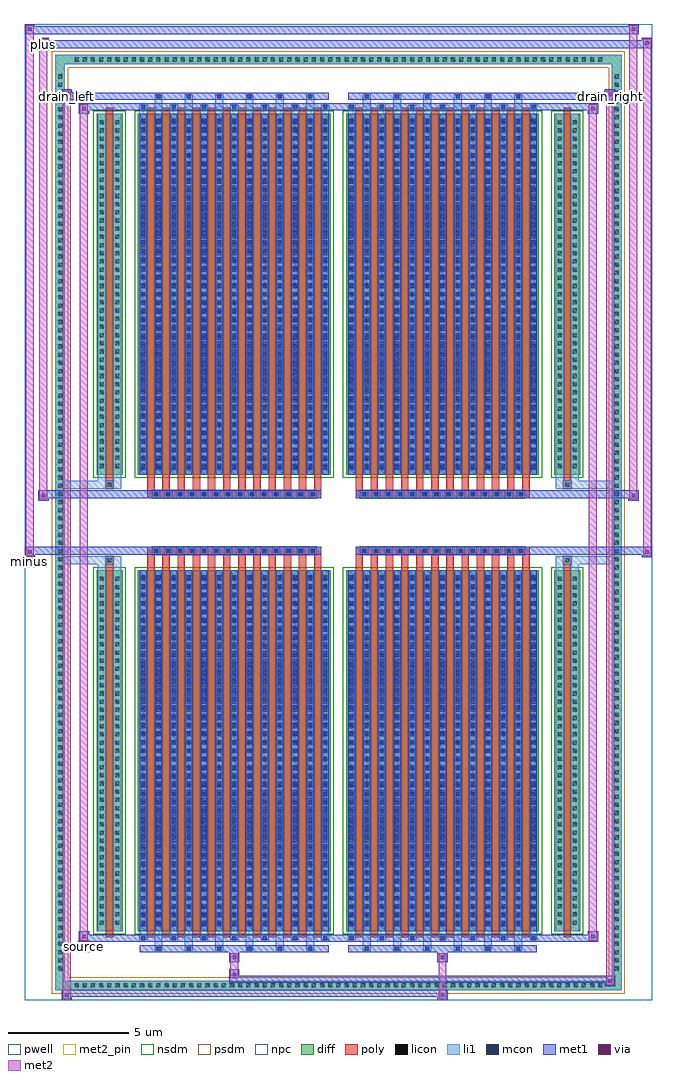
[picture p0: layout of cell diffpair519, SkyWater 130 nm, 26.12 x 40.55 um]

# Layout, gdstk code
import gdstk
lib = gdstk.Library(unit=1e-6, precision=5e-09)
def R(c, l, rs):  # rectangles x0, y0, x1, y1
    for r in rs: c.add(gdstk.rectangle(r[:2], r[2:], *l))
def A(c, l, x, y, w, h, nx, ny, dx, dy):  # array of equal rectangles
    R(c, l, [(x+i*dx, y+j*dy, x+i*dx+w, y+j*dy+h) for i in range(nx) for j in range(ny)])
def P(c, l, *ps):  # polygons
    for p in ps: c.add(gdstk.Polygon(p, *l))
pwell = (64, 44)
diff = (65, 20)
poly = (66, 20)
licon = (66, 44)
li1 = (67, 20)
mcon = (67, 44)
met1 = (68, 20)
via = (68, 44)
met2_pin = (69, 16)
met2 = (69, 20)
nsdm = (93, 44)
psdm = (94, 20)
npc = (95, 20)

diffpair519 = lib.new_cell('diffpair519')
R(diffpair519, pwell, [(-13.04,-19.84,13.04,20.71), (-10.36,-18.03,-0.01,-0.805), (0.01,-18.03,10.36,-0.805), (-10.36,0.805,-0.01,18.03), (0.01,0.805,10.36,18.03)])
A(diffpair519, diff, -11.085, -19.44, 0.41, 0.41, 65, 2, 0.34, 38.47)
A(diffpair519, diff, -11.77, -18.735, 0.41, 0.41, 1, 110, 0, 0.34)
A(diffpair519, diff, 11.36, -18.735, 0.41, 0.41, 1, 110, 0, 0.34)
R(diffpair519, diff, [(-11.085,-19.44,11.085,-19.03), (-11.77,-18.735,-11.36,18.735), (11.36,-18.735,11.77,18.735), (-10.05,-16.985,-8.97,-1.985), (-8.33,-16.985,-0.32,-1.985), (0.32,-16.985,8.33,-1.985), (8.97,-16.985,10.05,-1.985), (-10.05,1.985,-8.97,16.985), (-8.33,1.985,-0.32,16.985), (0.32,1.985,8.33,16.985), (8.97,1.985,10.05,16.985), (-11.085,19.03,11.085,19.44)])
P(diffpair519, diff, [(11.77,19.44),(-11.77,19.44),(-11.77,-19.03),(-11.36,-19.03),(-11.36,19.03),(11.36,19.03),(11.36,-19.03),(-11.36,-19.03),(-11.77,-19.03),(-11.77,-19.44),(11.77,-19.44)])
A(diffpair519, poly, -7.94, -17.235, 0.3, 15.5, 12, 2, 0.63, 18.97)
A(diffpair519, poly, 0.71, -17.235, 0.3, 15.5, 12, 2, 0.63, 18.97)
A(diffpair519, poly, -7.94, -1.735, 0.3, 0.4, 12, 2, 0.63, 3.07)
A(diffpair519, poly, 0.71, -1.735, 0.3, 0.4, 12, 2, 0.63, 3.07)
A(diffpair519, poly, -7.74, -1.335, 0.33, 0.33, 14, 2, 0.5, 2.34)
A(diffpair519, poly, 0.91, -1.335, 0.33, 0.33, 14, 2, 0.5, 2.34)
R(diffpair519, poly, [(-9.66,-17.235,-9.36,-1.735), (9.36,-17.235,9.66,-1.735), (-9.675,-1.735,-9.345,-1.405), (-9.675,-1.735,-9.345,-1.405), (9.345,-1.735,9.675,-1.405), (9.345,-1.735,9.675,-1.405), (-7.94,-1.335,-0.71,-1.005), (0.71,-1.335,7.94,-1.005), (-7.94,1.005,-0.71,1.335), (0.71,1.005,7.94,1.335), (-9.675,1.405,-9.345,1.735), (-9.675,1.405,-9.345,1.735), (9.345,1.405,9.675,1.735), (9.345,1.405,9.675,1.735), (-9.66,1.735,-9.36,17.235), (9.36,1.735,9.66,17.235)])
A(diffpair519, licon, -10.965, -19.32, 0.17, 0.17, 65, 2, 0.34, 38.47)
A(diffpair519, licon, -11.65, -18.615, 0.17, 0.17, 1, 110, 0, 0.34)
A(diffpair519, licon, 11.48, -18.615, 0.17, 0.17, 1, 110, 0, 0.34)
A(diffpair519, licon, -9.91, -16.71, 0.17, 0.17, 1, 43, 0, 0.34)
A(diffpair519, licon, -9.28, -16.71, 0.17, 0.17, 1, 43, 0, 0.34)
A(diffpair519, licon, -8.19, -16.71, 0.17, 0.17, 13, 43, 0.63, 0.34)
A(diffpair519, licon, 0.46, -16.71, 0.17, 0.17, 13, 43, 0.63, 0.34)
A(diffpair519, licon, 9.11, -16.71, 0.17, 0.17, 1, 43, 0, 0.34)
A(diffpair519, licon, 9.74, -16.71, 0.17, 0.17, 1, 43, 0, 0.34)
A(diffpair519, licon, -7.66, -1.255, 0.17, 0.17, 14, 2, 0.5, 2.34)
A(diffpair519, licon, 0.99, -1.255, 0.17, 0.17, 14, 2, 0.5, 2.34)
A(diffpair519, licon, -9.91, 2.26, 0.17, 0.17, 1, 43, 0, 0.34)
A(diffpair519, licon, -9.28, 2.26, 0.17, 0.17, 1, 43, 0, 0.34)
A(diffpair519, licon, -8.19, 2.26, 0.17, 0.17, 13, 43, 0.63, 0.34)
A(diffpair519, licon, 0.46, 2.26, 0.17, 0.17, 13, 43, 0.63, 0.34)
A(diffpair519, licon, 9.11, 2.26, 0.17, 0.17, 1, 43, 0, 0.34)
A(diffpair519, licon, 9.74, 2.26, 0.17, 0.17, 1, 43, 0, 0.34)
R(diffpair519, licon, [(-9.595,-1.655,-9.425,-1.485), (9.425,-1.655,9.595,-1.485), (-9.595,1.485,-9.425,1.655), (9.425,1.485,9.595,1.655)])
A(diffpair519, li1, -11.045, -19.4, 0.33, 0.33, 65, 2, 0.34, 38.47)
A(diffpair519, li1, -11.73, -18.695, 0.33, 0.33, 1, 110, 0, 0.34)
A(diffpair519, li1, 11.4, -18.695, 0.33, 0.33, 1, 110, 0, 0.34)
A(diffpair519, li1, -7.64, -17.79, 0.33, 0.805, 6, 2, 1.26, 34.775)
A(diffpair519, li1, -7.56, -17.79, 0.17, 0.17, 6, 2, 1.26, 35.41)
A(diffpair519, li1, 1.01, -17.79, 0.33, 0.805, 6, 2, 1.26, 34.775)
A(diffpair519, li1, 1.09, -17.79, 0.17, 0.17, 6, 2, 1.26, 35.41)
A(diffpair519, li1, -8.27, -17.36, 0.33, 0.375, 7, 2, 1.26, 34.345)
A(diffpair519, li1, -8.19, -17.36, 0.17, 0.17, 7, 2, 1.26, 34.55)
A(diffpair519, li1, 0.38, -17.36, 0.33, 0.375, 7, 2, 1.26, 34.345)
A(diffpair519, li1, 0.46, -17.36, 0.17, 0.17, 7, 2, 1.26, 34.55)
A(diffpair519, li1, -8.27, -16.985, 0.33, 15, 13, 2, 0.63, 18.97)
A(diffpair519, li1, 0.38, -16.985, 0.33, 15, 13, 2, 0.63, 18.97)
A(diffpair519, li1, -9.99, -16.79, 0.33, 0.33, 1, 43, 0, 0.34)
A(diffpair519, li1, -9.36, -16.79, 0.33, 0.33, 1, 43, 0, 0.34)
A(diffpair519, li1, -8.27, -16.79, 0.33, 0.33, 13, 43, 0.63, 0.34)
A(diffpair519, li1, 0.38, -16.79, 0.33, 0.33, 13, 43, 0.63, 0.34)
A(diffpair519, li1, 9.03, -16.79, 0.33, 0.33, 1, 43, 0, 0.34)
A(diffpair519, li1, 9.66, -16.79, 0.33, 0.33, 1, 43, 0, 0.34)
A(diffpair519, li1, -8.19, -16.77, 0.17, 0.17, 13, 41, 0.63, 0.36)
A(diffpair519, li1, -8.19, -16.77, 0.17, 14.57, 13, 2, 0.63, 18.97)
A(diffpair519, li1, 0.46, -16.77, 0.17, 0.17, 13, 41, 0.63, 0.36)
A(diffpair519, li1, 0.46, -16.77, 0.17, 14.57, 13, 2, 0.63, 18.97)
A(diffpair519, li1, -7.74, -1.335, 0.33, 0.33, 14, 2, 0.5, 2.34)
A(diffpair519, li1, 0.91, -1.335, 0.33, 0.33, 14, 2, 0.5, 2.34)
A(diffpair519, li1, -9.99, 2.18, 0.33, 0.33, 1, 43, 0, 0.34)
A(diffpair519, li1, -9.36, 2.18, 0.33, 0.33, 1, 43, 0, 0.34)
A(diffpair519, li1, -8.27, 2.18, 0.33, 0.33, 13, 43, 0.63, 0.34)
A(diffpair519, li1, 0.38, 2.18, 0.33, 0.33, 13, 43, 0.63, 0.34)
A(diffpair519, li1, 9.03, 2.18, 0.33, 0.33, 1, 43, 0, 0.34)
A(diffpair519, li1, 9.66, 2.18, 0.33, 0.33, 1, 43, 0, 0.34)
A(diffpair519, li1, -8.19, 2.2, 0.17, 0.17, 13, 41, 0.63, 0.36)
A(diffpair519, li1, 0.46, 2.2, 0.17, 0.17, 13, 41, 0.63, 0.36)
R(diffpair519, li1, [(-11.77,-19.44,-11.36,-19.03), (-11.77,-19.44,-11.36,-19.03), (-11.36,-19.44,11.36,-19.03), (11.36,-19.44,11.77,-19.03), (11.36,-19.44,11.77,-19.03), (-11.77,-19.03,-11.36,19.03), (11.36,-19.03,11.77,19.03), (-9.99,-16.985,-9.66,-1.985), (-9.36,-16.985,-9.03,-1.985), (9.03,-16.985,9.36,-1.985), (9.66,-16.985,9.99,-1.985), (-9.99,-1.985,-9.66,-1.405), (-9.36,-1.985,-9.03,-1.405), (9.03,-1.985,9.36,-1.405), (9.66,-1.985,9.99,-1.405), (-11.77,-1.735,-9.675,-1.405), (-9.99,-1.735,-9.675,-1.405), (-9.675,-1.735,-9.345,-1.405), (-9.345,-1.735,-9.03,-1.405), (9.03,-1.735,9.345,-1.405), (9.345,-1.735,9.675,-1.405), (9.345,-1.735,11.77,-1.405), (9.675,-1.735,9.99,-1.405), (-11.77,1.405,-9.675,1.735), (-9.99,1.405,-9.675,1.735), (-9.99,1.405,-9.66,1.985), (-9.675,1.405,-9.345,1.735), (-9.36,1.405,-9.03,1.985), (-9.345,1.405,-9.03,1.735), (9.03,1.405,9.345,1.735), (9.03,1.405,9.36,1.985), (9.345,1.405,9.675,1.735), (9.345,1.405,11.77,1.735), (9.66,1.405,9.99,1.985), (9.675,1.405,9.99,1.735), (-9.99,1.985,-9.66,16.985), (-9.36,1.985,-9.03,16.985), (9.03,1.985,9.36,16.985), (9.66,1.985,9.99,16.985), (-11.77,19.03,-11.36,19.44), (-11.77,19.03,-11.36,19.44), (-11.36,19.03,11.36,19.44), (11.36,19.03,11.77,19.44), (11.36,19.03,11.77,19.44)])
A(diffpair519, mcon, -7.56, -17.79, 0.17, 0.17, 6, 2, 1.26, 35.41)
A(diffpair519, mcon, 1.09, -17.79, 0.17, 0.17, 6, 2, 1.26, 35.41)
A(diffpair519, mcon, -8.19, -17.36, 0.17, 0.17, 7, 2, 1.26, 34.55)
A(diffpair519, mcon, 0.46, -17.36, 0.17, 0.17, 7, 2, 1.26, 34.55)
A(diffpair519, mcon, -8.19, -16.77, 0.17, 0.17, 13, 41, 0.63, 0.36)
A(diffpair519, mcon, 0.46, -16.77, 0.17, 0.17, 13, 41, 0.63, 0.36)
A(diffpair519, mcon, -7.66, -1.255, 0.17, 0.17, 14, 2, 0.5, 2.34)
A(diffpair519, mcon, 0.99, -1.255, 0.17, 0.17, 14, 2, 0.5, 2.34)
A(diffpair519, mcon, -8.19, 2.2, 0.17, 0.17, 13, 41, 0.63, 0.36)
A(diffpair519, mcon, 0.46, 2.2, 0.17, 0.17, 13, 41, 0.63, 0.36)
A(diffpair519, met1, -7.62, -17.85, 0.29, 0.29, 6, 2, 1.26, 35.41)
A(diffpair519, met1, 1.03, -17.85, 0.29, 0.29, 6, 2, 1.26, 35.41)
A(diffpair519, met1, -8.25, -17.42, 0.29, 0.29, 7, 2, 1.26, 34.55)
A(diffpair519, met1, 0.4, -17.42, 0.29, 0.29, 7, 2, 1.26, 34.55)
A(diffpair519, met1, -8.25, -16.985, 0.29, 15, 13, 2, 0.63, 18.97)
A(diffpair519, met1, 0.4, -16.985, 0.29, 15, 13, 2, 0.63, 18.97)
A(diffpair519, met1, -8.25, -16.83, 0.29, 0.29, 13, 41, 0.63, 0.36)
A(diffpair519, met1, 0.4, -16.83, 0.29, 0.29, 13, 41, 0.63, 0.36)
A(diffpair519, met1, -7.72, -1.315, 0.29, 0.29, 14, 2, 0.5, 2.34)
A(diffpair519, met1, 0.93, -1.315, 0.29, 0.29, 14, 2, 0.5, 2.34)
A(diffpair519, met1, -8.25, 2.14, 0.29, 0.29, 13, 41, 0.63, 0.36)
A(diffpair519, met1, 0.4, 2.14, 0.29, 0.29, 13, 41, 0.63, 0.36)
R(diffpair519, met1, [(-11.5,-19.84,-11.07,-19.41), (4.11,-19.84,4.54,-19.41), (-11.5,-19.7,4.54,-19.41), (11.07,-19.27,11.5,-18.84), (-4.54,-19.13,11.5,-18.84), (-4.54,-18.99,-4.11,-18.56), (-4.54,-18.28,-4.11,-17.85), (4.11,-18.28,4.54,-17.85), (-8.25,-17.85,-0.4,-17.56), (0.4,-17.85,8.25,-17.56), (-10.79,-17.42,-10.36,-16.99), (-10.79,-17.42,-8.25,-17.13), (-8.25,-17.42,-0.4,-17.13), (-0.4,-17.42,0.4,-17.13), (0.4,-17.42,8.25,-17.13), (8.25,-17.42,10.79,-17.13), (10.36,-17.42,10.79,-16.99), (-13.04,-1.435,-12.61,-1.005), (12.61,-1.435,13.04,-1.005), (-13.04,-1.335,-0.71,-1.005), (-7.94,-1.335,-0.71,-1.005), (0.71,-1.335,7.94,-1.005), (0.71,-1.335,13.04,-1.005), (-12.47,0.905,-12.04,1.335), (12.04,0.905,12.47,1.335), (-12.47,1.005,-7.94,1.335), (-7.94,1.005,-0.71,1.335), (0.71,1.005,7.94,1.335), (7.94,1.005,12.47,1.335), (-10.79,16.99,-10.36,17.42), (10.36,16.99,10.79,17.42), (-10.79,17.13,-8.25,17.42), (-8.25,17.13,-0.4,17.42), (-0.4,17.13,0.4,17.42), (0.4,17.13,8.25,17.42), (8.25,17.13,10.79,17.42), (-11.5,17.56,-11.07,17.99), (-11.5,17.56,-8.25,17.85), (-8.25,17.56,-0.4,17.85), (0.4,17.56,8.25,17.85), (8.25,17.56,11.5,17.85), (11.07,17.56,11.5,17.99), (-12.47,19.71,-12.04,20.14), (-12.47,19.71,-10.36,20.04), (-10.36,19.71,10.36,20.04), (10.36,19.71,13.04,20.04), (12.61,19.71,13.04,20.14), (-13.04,20.28,-12.61,20.71), (-13.04,20.28,-10.36,20.61), (-10.36,20.28,10.36,20.61), (10.36,20.28,12.47,20.61), (12.04,20.28,12.47,20.71)])
R(diffpair519, via, [(-11.36,-19.7,-11.21,-19.55), (4.25,-19.7,4.4,-19.55), (11.21,-19.13,11.36,-18.98), (-4.4,-18.85,-4.25,-18.7), (-4.4,-18.14,-4.25,-17.99), (4.25,-18.14,4.4,-17.99), (-10.65,-17.28,-10.5,-17.13), (10.5,-17.28,10.65,-17.13), (-12.9,-1.295,-12.75,-1.145), (12.75,-1.295,12.9,-1.145), (-12.33,1.045,-12.18,1.195), (12.18,1.045,12.33,1.195), (-10.65,17.13,-10.5,17.28), (10.5,17.13,10.65,17.28), (-11.36,17.7,-11.21,17.85), (11.21,17.7,11.36,17.85), (-12.33,19.85,-12.18,20), (12.75,19.85,12.9,20), (-12.9,20.42,-12.75,20.57), (12.18,20.42,12.33,20.57)])
R(diffpair519, met2_pin, [(-10.825,-17.87,-10.325,-17.37), (-13.075,-1.885,-12.575,-1.385), (-11.535,17.44,-11.035,17.94), (11.035,17.44,11.535,17.94), (-12.505,19.59,-12.005,20.09)])
R(diffpair519, met2, [(-11.45,-19.79,-11.12,-19.46), (-11.45,-19.79,-11.12,17.94), (4.16,-19.79,4.49,-19.46), (4.16,-19.46,4.49,-18.23), (11.12,-19.22,11.45,-18.89), (11.12,-19.22,11.45,17.94), (-4.49,-18.94,-4.16,-18.61), (-4.49,-18.61,-4.16,-18.23), (-4.49,-18.23,-4.16,-17.9), (4.16,-18.23,4.49,-17.9), (-10.74,-17.37,-10.41,-17.04), (-10.74,-17.37,-10.41,17.37), (10.41,-17.37,10.74,-17.04), (10.41,-17.37,10.74,17.37), (-12.99,-1.385,-12.66,-1.055), (-12.99,-1.385,-12.66,20.66), (12.66,-1.385,12.99,-1.055), (12.66,-1.385,12.99,20.09), (-12.42,0.955,-12.09,1.285), (-12.42,0.955,-12.09,20.09), (12.09,0.955,12.42,1.285), (12.09,0.955,12.42,20.66), (-10.74,17.04,-10.41,17.37), (10.41,17.04,10.74,17.37), (-11.45,17.61,-11.12,17.94), (11.12,17.61,11.45,17.94), (-12.42,19.76,-12.09,20.09), (12.66,19.76,12.99,20.09), (-12.99,20.33,-12.66,20.66), (12.09,20.33,12.42,20.66)])
P(diffpair519, met2, [(12.99,-1.385),(12.99,-1.385),(12.99,-1.055),(12.99,-1.055)],
  [(12.99,19.76),(12.99,19.76),(12.99,20.09),(12.99,20.09)],
  [(-12.66,-1.385),(-12.66,-1.385),(-12.66,-1.055),(-12.66,-1.055)],
  [(-12.66,20.33),(-12.66,20.33),(-12.66,20.66),(-12.66,20.66)],
  [(12.42,0.955),(12.42,0.955),(12.42,1.285),(12.42,1.285)],
  [(12.42,20.33),(12.42,20.33),(12.42,20.66),(12.42,20.66)],
  [(-12.09,0.955),(-12.09,0.955),(-12.09,1.285),(-12.09,1.285)],
  [(-12.09,19.76),(-12.09,19.76),(-12.09,20.09),(-12.09,20.09)],
  [(-11.12,-19.79),(-11.12,-19.79),(-11.12,-19.46),(-11.12,-19.46)],
  [(-11.12,17.61),(-11.12,17.61),(-11.12,17.94),(-11.12,17.94)],
  [(11.45,-19.22),(11.45,-19.22),(11.45,-18.89),(11.45,-18.89)],
  [(11.45,17.61),(11.45,17.61),(11.45,17.94),(11.45,17.94)],
  [(-10.41,-17.37),(-10.41,-17.37),(-10.41,-17.04),(-10.41,-17.04)],
  [(-10.41,17.04),(-10.41,17.04),(-10.41,17.37),(-10.41,17.37)],
  [(10.74,-17.37),(10.74,-17.37),(10.74,-17.04),(10.74,-17.04)],
  [(10.74,17.04),(10.74,17.04),(10.74,17.37),(10.74,17.37)])
R(diffpair519, nsdm, [(-10.18,-17.115,-8.84,-1.855), (-8.46,-17.115,-0.19,-1.855), (0.19,-17.115,8.46,-1.855), (8.84,-17.115,10.18,-1.855), (-10.18,1.855,-8.84,17.115), (-8.46,1.855,-0.19,17.115), (0.19,1.855,8.46,17.115), (8.84,1.855,10.18,17.115)])
P(diffpair519, psdm, [(11.9,19.57),(-11.9,19.57),(-11.9,-18.9),(-11.23,-18.9),(-11.23,18.9),(11.23,18.9),(11.23,-18.9),(-11.23,-18.9),(-11.9,-18.9),(-11.9,-19.57),(11.9,-19.57)])
A(diffpair519, npc, -7.76, -1.355, 0.37, 0.37, 14, 2, 0.5, 2.34)
A(diffpair519, npc, 0.89, -1.355, 0.37, 0.37, 14, 2, 0.5, 2.34)
R(diffpair519, npc, [(-9.695,-1.755,-9.325,-1.385), (9.325,-1.755,9.695,-1.385), (-7.76,-1.355,-6.89,-0.985), (-7.76,-1.355,-6.89,-0.985), (-7.26,-1.355,-6.39,-0.985), (-7.26,-1.355,-6.39,-0.985), (-6.76,-1.355,-5.89,-0.985), (-6.76,-1.355,-5.89,-0.985), (-6.26,-1.355,-5.39,-0.985), (-6.26,-1.355,-5.39,-0.985), (-5.76,-1.355,-4.89,-0.985), (-5.76,-1.355,-4.89,-0.985), (-5.26,-1.355,-4.39,-0.985), (-5.26,-1.355,-4.39,-0.985), (-4.76,-1.355,-3.89,-0.985), (-4.76,-1.355,-3.89,-0.985), (-4.26,-1.355,-3.39,-0.985), (-4.26,-1.355,-3.39,-0.985), (-3.76,-1.355,-2.89,-0.985), (-3.76,-1.355,-2.89,-0.985), (-3.26,-1.355,-2.39,-0.985), (-3.26,-1.355,-2.39,-0.985), (-2.76,-1.355,-1.89,-0.985), (-2.76,-1.355,-1.89,-0.985), (-2.26,-1.355,-1.39,-0.985), (-2.26,-1.355,-1.39,-0.985), (-1.76,-1.355,-0.89,-0.985), (-1.76,-1.355,-0.89,-0.985), (0.89,-1.355,1.76,-0.985), (0.89,-1.355,1.76,-0.985), (1.39,-1.355,2.26,-0.985), (1.39,-1.355,2.26,-0.985), (1.89,-1.355,2.76,-0.985), (1.89,-1.355,2.76,-0.985), (2.39,-1.355,3.26,-0.985), (2.39,-1.355,3.26,-0.985), (2.89,-1.355,3.76,-0.985), (2.89,-1.355,3.76,-0.985), (3.39,-1.355,4.26,-0.985), (3.39,-1.355,4.26,-0.985), (3.89,-1.355,4.76,-0.985), (3.89,-1.355,4.76,-0.985), (4.39,-1.355,5.26,-0.985), (4.39,-1.355,5.26,-0.985), (4.89,-1.355,5.76,-0.985), (4.89,-1.355,5.76,-0.985), (5.39,-1.355,6.26,-0.985), (5.39,-1.355,6.26,-0.985), (5.89,-1.355,6.76,-0.985), (5.89,-1.355,6.76,-0.985), (6.39,-1.355,7.26,-0.985), (6.39,-1.355,7.26,-0.985), (6.89,-1.355,7.76,-0.985), (6.89,-1.355,7.76,-0.985), (-7.76,0.985,-6.89,1.355), (-7.76,0.985,-6.89,1.355), (-7.26,0.985,-6.39,1.355), (-7.26,0.985,-6.39,1.355), (-6.76,0.985,-5.89,1.355), (-6.76,0.985,-5.89,1.355), (-6.26,0.985,-5.39,1.355), (-6.26,0.985,-5.39,1.355), (-5.76,0.985,-4.89,1.355), (-5.76,0.985,-4.89,1.355), (-5.26,0.985,-4.39,1.355), (-5.26,0.985,-4.39,1.355), (-4.76,0.985,-3.89,1.355), (-4.76,0.985,-3.89,1.355), (-4.26,0.985,-3.39,1.355), (-4.26,0.985,-3.39,1.355), (-3.76,0.985,-2.89,1.355), (-3.76,0.985,-2.89,1.355), (-3.26,0.985,-2.39,1.355), (-3.26,0.985,-2.39,1.355), (-2.76,0.985,-1.89,1.355), (-2.76,0.985,-1.89,1.355), (-2.26,0.985,-1.39,1.355), (-2.26,0.985,-1.39,1.355), (-1.76,0.985,-0.89,1.355), (-1.76,0.985,-0.89,1.355), (0.89,0.985,1.76,1.355), (0.89,0.985,1.76,1.355), (1.39,0.985,2.26,1.355), (1.39,0.985,2.26,1.355), (1.89,0.985,2.76,1.355), (1.89,0.985,2.76,1.355), (2.39,0.985,3.26,1.355), (2.39,0.985,3.26,1.355), (2.89,0.985,3.76,1.355), (2.89,0.985,3.76,1.355), (3.39,0.985,4.26,1.355), (3.39,0.985,4.26,1.355), (3.89,0.985,4.76,1.355), (3.89,0.985,4.76,1.355), (4.39,0.985,5.26,1.355), (4.39,0.985,5.26,1.355), (4.89,0.985,5.76,1.355), (4.89,0.985,5.76,1.355), (5.39,0.985,6.26,1.355), (5.39,0.985,6.26,1.355), (5.89,0.985,6.76,1.355), (5.89,0.985,6.76,1.355), (6.39,0.985,7.26,1.355), (6.39,0.985,7.26,1.355), (6.89,0.985,7.76,1.355), (6.89,0.985,7.76,1.355), (-9.695,1.385,-9.325,1.755), (9.325,1.385,9.695,1.755)])
diffpair519.add(gdstk.Label('minus', (-12.825,-1.635), layer=69, texttype=5))
diffpair519.add(gdstk.Label('drain_right', (11.285,17.69), layer=69, texttype=5))
diffpair519.add(gdstk.Label('drain_left', (-11.285,17.69), layer=69, texttype=5))
diffpair519.add(gdstk.Label('source', (-10.575,-17.62), layer=69, texttype=5))
diffpair519.add(gdstk.Label('plus', (-12.255,19.84), layer=69, texttype=5))

lib.write_gds('diffpair519.gds')
